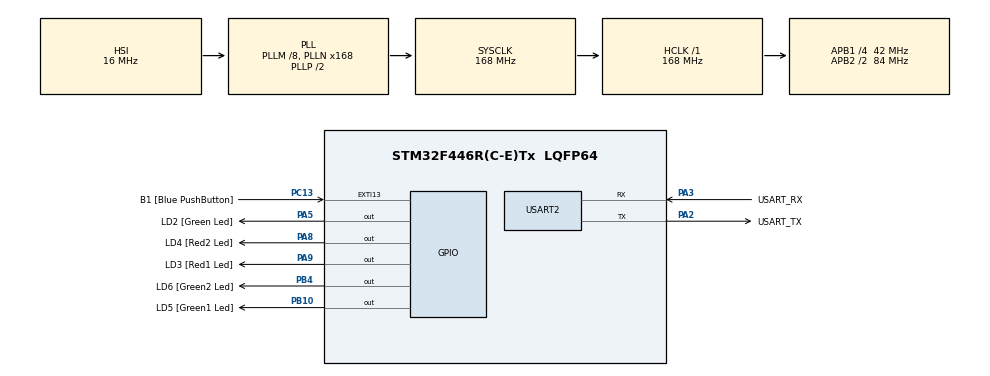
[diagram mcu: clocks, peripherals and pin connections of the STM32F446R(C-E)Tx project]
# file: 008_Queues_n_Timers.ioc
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Mcu.Family=STM32F4
Mcu.Name=STM32F446R(C-E)Tx
Mcu.Package=LQFP64
NVIC.PriorityGroup=NVIC_PRIORITYGROUP_4
NVIC.TIM6_DAC_IRQn=true\:15\:0\:false\:false\:true\:false\:true\:true
NVIC.TimeBase=TIM6_DAC_IRQn
NVIC.TimeBaseIP=TIM6
NVIC.USART2_IRQn=true\:6\:0\:true\:false\:true\:true\:true\:true
PA13.GPIO_Label=TMS
PA13.Signal=SYS_JTMS-SWDIO
PA14.GPIO_Label=TCK
PA14.Signal=SYS_JTCK-SWCLK
PA2.GPIO_Label=USART_TX
PA2.Mode=Asynchronous
PA2.Signal=USART2_TX
PA3.GPIO_Label=USART_RX
PA3.Mode=Asynchronous
PA3.Signal=USART2_RX
PA5.GPIO_Label=LD2 [Green Led]
PA5.Signal=GPIO_Output
PA8.GPIO_Label=LD4 [Red2 Led]
PA8.Signal=GPIO_Output
PA9.GPIO_Label=LD3 [Red1 Led]
PA9.Signal=GPIO_Output
PB10.GPIO_Label=LD5 [Green1 Led]
PB10.Signal=GPIO_Output
PB3.GPIO_Label=SWO
PB3.Signal=SYS_JTDO-SWO
PB4.GPIO_Label=LD6 [Green2 Led]
PB4.Signal=GPIO_Output
PC13.GPIO_Label=B1 [Blue PushButton]
PC13.GPIO_ModeDefaultEXTI=GPIO_MODE_IT_FALLING
PC13.Signal=GPXTI13
PC14-OSC32_IN.Signal=RCC_OSC32_IN
PC15-OSC32_OUT.Signal=RCC_OSC32_OUT
PH0-OSC_IN.Signal=RCC_OSC_IN
PH1-OSC_OUT.Signal=RCC_OSC_OUT
ProjectManager.HeapSize=0x200
ProjectManager.StackSize=0x400
ProjectManager.TargetToolchain=STM32CubeIDE
RCC.AHBFreq_Value=168000000
RCC.APB1CLKDivider=RCC_HCLK_DIV4
RCC.APB1Freq_Value=42000000
RCC.APB1TimFreq_Value=84000000
RCC.APB2CLKDivider=RCC_HCLK_DIV2
RCC.APB2Freq_Value=84000000
RCC.APB2TimFreq_Value=168000000
RCC.CortexFreq_Value=168000000
RCC.FLatency-AdvancedSettings=FLASH_LATENCY_5
RCC.HCLKFreq_Value=168000000
RCC.HSE_VALUE=8000000
RCC.HSI_VALUE=16000000
RCC.LSE_VALUE=32768
RCC.PLLM=8
RCC.PLLN=168
RCC.SYSCLKFreq_VALUE=168000000
RCC.SYSCLKSource=RCC_SYSCLKSOURCE_PLLCLK
RCC.USBFreq_Value=168000000
RCC.VCOOutputFreq_Value=336000000
RTC.HourFormat=RTC_HOURFORMAT_12
USART2.VirtualMode=VM_ASYNC
VP_RTC_VS_RTC_Activate.Mode=RTC_Enabled
VP_SYS_VS_tim6.Mode=TIM6
board=NUCLEO-F446RE

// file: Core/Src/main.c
/* USER CODE BEGIN Header */
/**
  ******************************************************************************
  * @file           : main.c
  * @brief          : Main program body
  ******************************************************************************
  * @attention
  *
  * Copyright (c) 2023 STMicroelectronics.
  * All rights reserved.
  *
  * This software is licensed under terms that can be found in the LICENSE file
  * in the root directory of this software component.
  * If no LICENSE file comes with this software, it is provided AS-IS.
  *
  ******************************************************************************
  */
/* USER CODE END Header */
#include "main.h"

RTC_HandleTypeDef hrtc;

UART_HandleTypeDef huart2;

/* USER CODE BEGIN PV */

TaskHandle_t menu_task_handle;
TaskHandle_t cmd_task_handle;
TaskHandle_t print_task_handle;
TaskHandle_t led_task_handle;
TaskHandle_t rtc_task_handle;

QueueHandle_t q_data_handle;
QueueHandle_t q_print_handle;

TimerHandle_t led_timer_handle[4];
TimerHandle_t rtc_timer;

volatile uint8_t user_data;

state_t curr_state = sMainMenu;

/* USER CODE END PV */

void SystemClock_Config(void);
static void MX_GPIO_Init(void);
static void MX_RTC_Init(void);
static void MX_USART2_UART_Init(void);
/* USER CODE BEGIN PFP */

void led_effect_callback(TimerHandle_t xTimer);
void rtc_report_callback(TimerHandle_t xTimer);

//void menu_task_handler(void* param);
//void cmd_task_handler(void* param);
//void print_task_handler(void* param);
//void led_task_handler(void* param);
//void rtc_task_handler(void* param);

/* USER CODE END PFP */

int main(void)
{
  /* USER CODE BEGIN 1 */

	BaseType_t status;

  /* USER CODE END 1 */

  /* MCU Configuration--------------------------------------------------------*/

  /* Reset of all peripherals, Initializes the Flash interface and the Systick. */
  HAL_Init();

  /* Configure the system clock */
  SystemClock_Config();

  /* Initialize all configured peripherals */
  MX_GPIO_Init();
  MX_RTC_Init();
  MX_USART2_UART_Init();
  /* USER CODE BEGIN 2 */

  status = xTaskCreate(menu_task_handler, "menu_task", 250, NULL, 2, &menu_task_handle);

  configASSERT(status == pdPASS);

  status = xTaskCreate(cmd_task_handler, "cmd_task", 250, NULL, 2, &cmd_task_handle);

  configASSERT(status == pdPASS);

  status = xTaskCreate(print_task_handler, "print_task", 250, NULL, 2, &print_task_handle);

  configASSERT(status == pdPASS);

  status = xTaskCreate(led_task_handler, "led_task", 250, NULL, 2, &led_task_handle);

  configASSERT(status == pdPASS);

  status = xTaskCreate(rtc_task_handler, "rtc_task", 250, NULL, 2, &rtc_task_handle);

  configASSERT(status == pdPASS);

  q_data_handle = xQueueCreate(10, sizeof(char));

  configASSERT(q_data_handle != NULL);

  q_print_handle = xQueueCreate(10, sizeof(size_t));

  configASSERT(q_print_handle != NULL);

  // Create software timers for LED effects
  for(int i=0; i<4; i++){
	  led_timer_handle[i] = xTimerCreate("led_timer", pdMS_TO_TICKS(500), pdTRUE, (void*)(i+1), led_effect_callback);

  }

  rtc_timer = xTimerCreate("rtc_report_timer", pdMS_TO_TICKS(1000), pdTRUE, NULL, rtc_report_callback);

  HAL_UART_Receive_IT(&huart2, (uint8_t*)&user_data, 1);

  vTaskStartScheduler();

  /* USER CODE END 2 */

  /* Infinite loop */
  while (1)
  {

  }
}

void SystemClock_Config(void)
{
  RCC_OscInitTypeDef RCC_OscInitStruct = {0};
  RCC_ClkInitTypeDef RCC_ClkInitStruct = {0};

  /** Configure the main internal regulator output voltage
  */
  __HAL_RCC_PWR_CLK_ENABLE();
  __HAL_PWR_VOLTAGESCALING_CONFIG(PWR_REGULATOR_VOLTAGE_SCALE1);

  /** Initializes the RCC Oscillators according to the specified parameters
  * in the RCC_OscInitTypeDef structure.
  */
  RCC_OscInitStruct.OscillatorType = RCC_OSCILLATORTYPE_HSI|RCC_OSCILLATORTYPE_LSI;
  RCC_OscInitStruct.LSEState = RCC_LSE_OFF;
  RCC_OscInitStruct.HSIState = RCC_HSI_ON;
  RCC_OscInitStruct.HSICalibrationValue = RCC_HSICALIBRATION_DEFAULT;
  RCC_OscInitStruct.LSIState = RCC_LSI_ON;
  RCC_OscInitStruct.PLL.PLLState = RCC_PLL_ON;
  RCC_OscInitStruct.PLL.PLLSource = RCC_PLLSOURCE_HSI;
  RCC_OscInitStruct.PLL.PLLM = 8;
  RCC_OscInitStruct.PLL.PLLN = 168;
  RCC_OscInitStruct.PLL.PLLP = RCC_PLLP_DIV2;
  RCC_OscInitStruct.PLL.PLLQ = 2;
  RCC_OscInitStruct.PLL.PLLR = 2;
  if (HAL_RCC_OscConfig(&RCC_OscInitStruct) != HAL_OK)
  {
    Error_Handler();
  }

  /** Initializes the CPU, AHB and APB buses clocks
  */
  RCC_ClkInitStruct.ClockType = RCC_CLOCKTYPE_HCLK|RCC_CLOCKTYPE_SYSCLK
                              |RCC_CLOCKTYPE_PCLK1|RCC_CLOCKTYPE_PCLK2;
  RCC_ClkInitStruct.SYSCLKSource = RCC_SYSCLKSOURCE_PLLCLK;
  RCC_ClkInitStruct.AHBCLKDivider = RCC_SYSCLK_DIV1;
  RCC_ClkInitStruct.APB1CLKDivider = RCC_HCLK_DIV4;
  RCC_ClkInitStruct.APB2CLKDivider = RCC_HCLK_DIV2;

  if (HAL_RCC_ClockConfig(&RCC_ClkInitStruct, FLASH_LATENCY_5) != HAL_OK)
  {
    Error_Handler();
  }
}

static void MX_RTC_Init(void)
{

  /** Initialize RTC Only
  */
  hrtc.Instance = RTC;
  hrtc.Init.HourFormat = RTC_HOURFORMAT_12;
  hrtc.Init.AsynchPrediv = 127;
  hrtc.Init.SynchPrediv = 255;
  hrtc.Init.OutPut = RTC_OUTPUT_DISABLE;
  hrtc.Init.OutPutPolarity = RTC_OUTPUT_POLARITY_HIGH;
  hrtc.Init.OutPutType = RTC_OUTPUT_TYPE_OPENDRAIN;
  if (HAL_RTC_Init(&hrtc) != HAL_OK)
  {
    Error_Handler();
  }

}

static void MX_USART2_UART_Init(void)
{

  huart2.Instance = USART2;
  huart2.Init.BaudRate = 115200;
  huart2.Init.WordLength = UART_WORDLENGTH_8B;
  huart2.Init.StopBits = UART_STOPBITS_1;
  huart2.Init.Parity = UART_PARITY_NONE;
  huart2.Init.Mode = UART_MODE_TX_RX;
  huart2.Init.HwFlowCtl = UART_HWCONTROL_NONE;
  huart2.Init.OverSampling = UART_OVERSAMPLING_16;
  if (HAL_UART_Init(&huart2) != HAL_OK)
  {
    Error_Handler();
  }

}

static void MX_GPIO_Init(void)
{
  GPIO_InitTypeDef GPIO_InitStruct = {0};

  /* GPIO Ports Clock Enable */
  __HAL_RCC_GPIOC_CLK_ENABLE();
  __HAL_RCC_GPIOH_CLK_ENABLE();
  __HAL_RCC_GPIOA_CLK_ENABLE();
  __HAL_RCC_GPIOB_CLK_ENABLE();

  /*Configure GPIO pin Output Level */
  HAL_GPIO_WritePin(GPIOA, LD2_Pin|LD4_Pin|LD3_Pin, GPIO_PIN_RESET);

  /*Configure GPIO pin Output Level */
  HAL_GPIO_WritePin(GPIOB, LD5_Pin|LD6_Pin, GPIO_PIN_RESET);

  /*Configure GPIO pin : B1_Pin */
  GPIO_InitStruct.Pin = B1_Pin;
  GPIO_InitStruct.Mode = GPIO_MODE_IT_FALLING;
  GPIO_InitStruct.Pull = GPIO_NOPULL;
  HAL_GPIO_Init(B1_GPIO_Port, &GPIO_InitStruct);

  /*Configure GPIO pins : LD2_Pin LD4_Pin LD3_Pin */
  GPIO_InitStruct.Pin = LD2_Pin|LD4_Pin|LD3_Pin;
  GPIO_InitStruct.Mode = GPIO_MODE_OUTPUT_PP;
  GPIO_InitStruct.Pull = GPIO_NOPULL;
  GPIO_InitStruct.Speed = GPIO_SPEED_FREQ_LOW;
  HAL_GPIO_Init(GPIOA, &GPIO_InitStruct);

  /*Configure GPIO pins : LD5_Pin LD6_Pin */
  GPIO_InitStruct.Pin = LD5_Pin|LD6_Pin;
  GPIO_InitStruct.Mode = GPIO_MODE_OUTPUT_PP;
  GPIO_InitStruct.Pull = GPIO_NOPULL;
  GPIO_InitStruct.Speed = GPIO_SPEED_FREQ_LOW;
  HAL_GPIO_Init(GPIOB, &GPIO_InitStruct);

}

/* USER CODE BEGIN 4 */

void rtc_report_callback(TimerHandle_t xTimer){
	show_time_date_itm();
}

void led_effect_callback(TimerHandle_t xTimer){

	int id;
	id = (uint32_t) pvTimerGetTimerID(xTimer);

	switch(id){
	case 1:
		LED_effect1();
		break;
	case 2:
		LED_effect2();
		break;
	case 3:
		LED_effect3();
		break;
	case 4:
		LED_effect4();
		break;
	}
}

// This function is called from the UART interrupt handler
void HAL_UART_RxCpltCallback(UART_HandleTypeDef *huart)
{
	uint8_t dummy;

	for(uint32_t i=0; i<4000; i++);

	if(!xQueueIsQueueFullFromISR(q_data_handle)){
		// Enqueue Data
		xQueueSendFromISR(q_data_handle, (void*)&user_data, NULL);
	}else{
		if(user_data == '\r'){
			// Remove the last item in the Queue
			xQueueReceiveFromISR(q_data_handle, (void*)&dummy, NULL);
			// Enqueue the \n
			xQueueSendFromISR(q_data_handle, (void*)&user_data, NULL);
		}
	}

	// If data is \n then notify the cmd_task
	if(user_data == '\r'){
		xTaskNotifyFromISR(cmd_task_handle, 0, eNoAction, NULL);
	}

	// Enable UART data byte reception
	HAL_UART_Receive_IT(&huart2, (uint8_t*)&user_data, 1);

}

/* USER CODE END 4 */

void HAL_TIM_PeriodElapsedCallback(TIM_HandleTypeDef *htim)
{
  if (htim->Instance == TIM6) {
    HAL_IncTick();
  }
}

void Error_Handler(void)
{
  __disable_irq();
  while (1)
  {
  }
}
